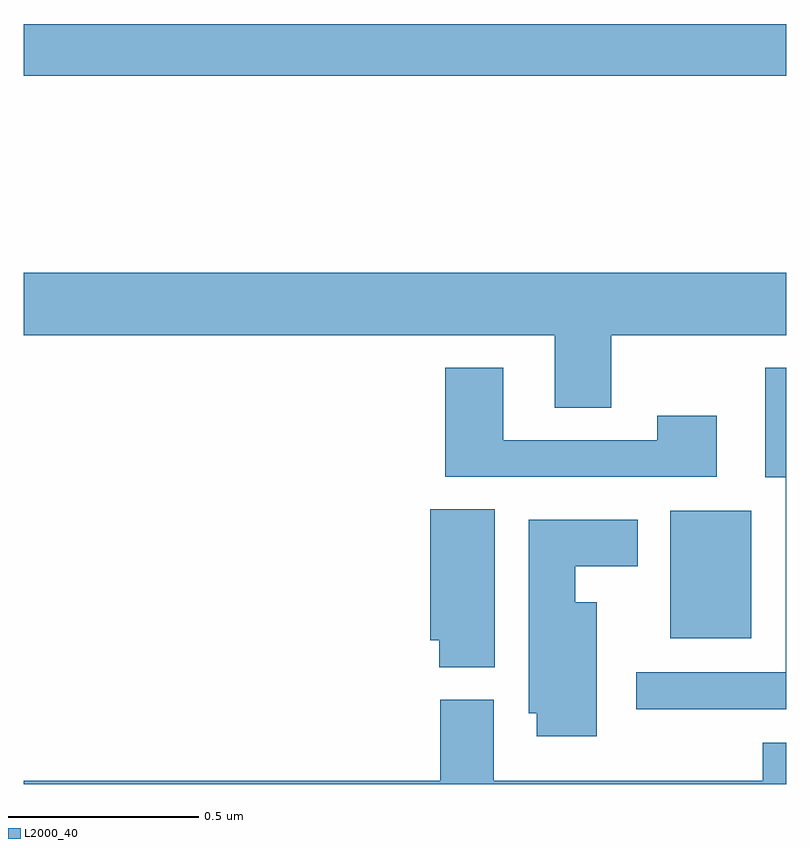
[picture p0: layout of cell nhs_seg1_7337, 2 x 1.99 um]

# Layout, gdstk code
import gdstk
lib = gdstk.Library(unit=1e-6, precision=1e-09)
def R(c, l, rs):  # rectangles x0, y0, x1, y1
    for r in rs: c.add(gdstk.rectangle(r[:2], r[2:], *l))
def P(c, l, *ps):  # polygons
    for p in ps: c.add(gdstk.Polygon(p, *l))
L2000_40 = (2000, 40)

nhs_seg1_7337 = lib.new_cell('nhs_seg1_7337')
R(nhs_seg1_7337, L2000_40, [(203.696,573.581,203.908,573.916), (202,575.056,204,575.192)])
P(nhs_seg1_7337, L2000_40, [(203.541,574.376),(204,574.376),(204,574.54),(202,574.54),(202,574.376),(203.393,574.376),(203.393,574.186),(203.541,574.186)],
  [(204,574.291),(203.945,574.291),(203.945,574.004),(203.999,574.004),(203.999,573.492),(203.607,573.492),(203.607,573.395),(204,573.395)],
  [(203.818,574.165),(203.662,574.165),(203.662,574.101),(203.257,574.101),(203.257,574.291),(203.105,574.291),(203.105,574.005),(203.818,574.005)],
  [(203.236,573.92),(203.066,573.92),(203.066,573.576),(203.09,573.576),(203.09,573.505),(203.236,573.505)],
  [(203.503,573.676),(203.446,573.676),(203.446,573.77),(203.611,573.77),(203.611,573.892),(203.324,573.892),(203.324,573.384),(203.345,573.384),(203.345,573.324),(203.503,573.324)],
  [(204,573.307),(203.938,573.307),(203.938,573.208),(203.233,573.208),(203.233,573.42),(203.093,573.42),(203.093,573.208),(202,573.208),(202,573.199),(204,573.199)])

lib.write_gds('nhs_seg1_7337.gds')
